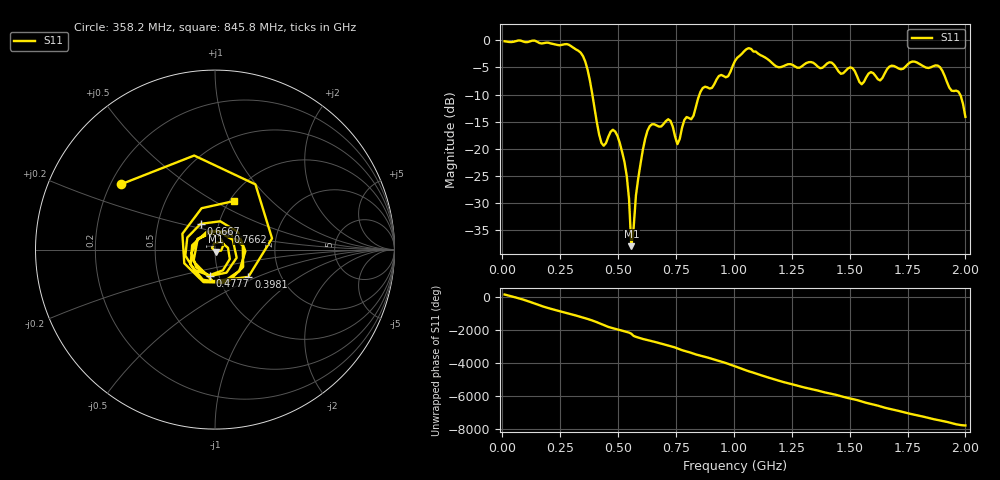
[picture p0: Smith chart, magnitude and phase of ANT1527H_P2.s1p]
!Created with skrf (http://scikit-rf.org).
# Hz S RI R 50.0
!freq ReS11 ImS11
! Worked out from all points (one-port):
!   201 points, 10 MHz to 2 GHz, reference 50 ohm
!   lowest |S11| = -37.9 dB at 557.2 MHz (marker M1), VSWR 1.03, Z = 50.3 - j1.24 ohm
!   |S11| at or under -10 dB: 388.9 MHz to 851.6 MHz (462.7 MHz wide, 74.6 % of centre); 1.977 GHz to end of sweep
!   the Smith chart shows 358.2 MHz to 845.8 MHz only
!   S11 on the Smith chart (normalised r, x): 358.2 MHz: 0.24, +0.30; 398.1 MHz: 1.37, -0.44; 477.6 MHz: 0.91, -0.27; 666.7 MHz: 0.82, +0.24; 766.2 MHz: 1.13, +0.23; 845.8 MHz: 1.05, +0.62
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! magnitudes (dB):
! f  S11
! 10 MHz  -0.2
! 258.8 MHz  -0.8
! 358.2 MHz  -3.9
! 398.1 MHz  -12.4
! 437.9 MHz  -19.4
! 477.6 MHz  -16.5
! 507.5 MHz  -18.9
! 537.4 MHz  -24.9
! 547.3 MHz  -29.2
! 557.2 MHz  -37.9
! 577.1 MHz  -28.6
! 617 MHz  -18.2
! 666.7 MHz  -15.7
! 726.4 MHz  -14.8
! 756.2 MHz  -19.1
! 766.2 MHz  -18.2
! 786.1 MHz  -14.7
! 825.9 MHz  -13.9
! 845.8 MHz  -10.7
! 1.005 GHz  -3.8
! 1.065 GHz  -1.5
! 1.254 GHz  -4.5
! 1.502 GHz  -5.0
! 1.552 GHz  -8.1
! 1.751 GHz  -4.4
! 1.891 GHz  -5.0
! 1.98 GHz  -10.2
! 2 GHz  -14.1
